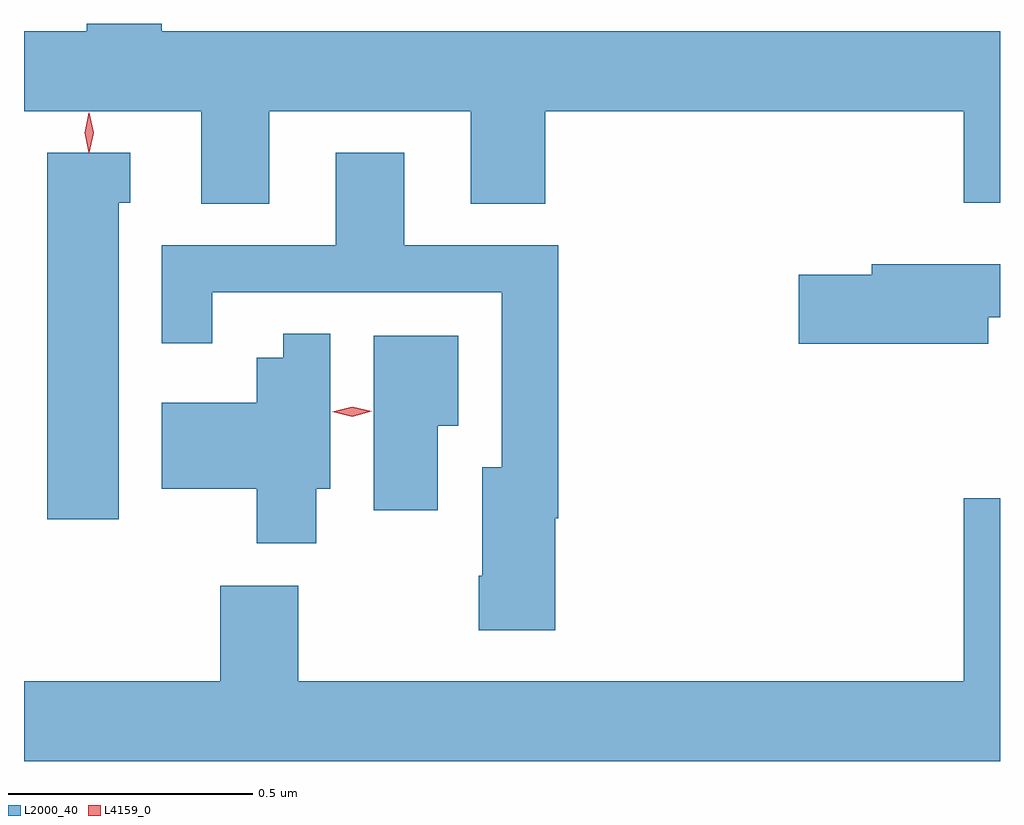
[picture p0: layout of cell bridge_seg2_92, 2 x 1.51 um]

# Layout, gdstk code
import gdstk
lib = gdstk.Library(unit=1e-6, precision=1e-09)
def P(c, l, *ps):  # polygons
    for p in ps: c.add(gdstk.Polygon(p, *l))
L2000_40 = (2000, 40)
L4159_0 = (4159, 0)

bridge_seg2_92 = lib.new_cell('bridge_seg2_92')
P(bridge_seg2_92, L2000_40, [(355.172,649.147),(355.019,649.147),(355.019,649.132),(354.89,649.132),(354.89,648.968),(355.253,648.968),(355.253,648.778),(355.393,648.778),(355.393,648.968),(355.805,648.968),(355.805,648.778),(355.958,648.778),(355.958,648.968),(356.816,648.968),(356.816,648.78),(356.89,648.78),(356.89,649.132),(355.172,649.132)],
  [(355.084,648.78),(355.108,648.78),(355.108,648.883),(354.938,648.883),(354.938,648.132),(355.084,648.132)],
  [(355.979,648.134),(355.985,648.134),(355.985,648.693),(355.669,648.693),(355.669,648.883),(355.529,648.883),(355.529,648.693),(355.172,648.693),(355.172,648.492),(355.276,648.492),(355.276,648.597),(355.869,648.597),(355.869,648.238),(355.829,648.238),(355.829,648.016),(355.822,648.016),(355.822,647.904),(355.979,647.904)],
  [(356.866,648.546),(356.89,648.546),(356.89,648.654),(356.627,648.654),(356.627,648.633),(356.478,648.633),(356.478,648.491),(356.866,648.491)],
  [(355.489,648.194),(355.518,648.194),(355.518,648.512),(355.421,648.512),(355.421,648.463),(355.367,648.463),(355.367,648.37),(355.172,648.37),(355.172,648.194),(355.367,648.194),(355.367,648.083),(355.489,648.083)],
  [(355.738,648.323),(355.78,648.323),(355.78,648.508),(355.607,648.508),(355.607,648.15),(355.738,648.15)],
  [(356.89,648.175),(356.816,648.175),(356.816,647.8),(355.452,647.8),(355.452,647.995),(355.292,647.995),(355.292,647.8),(354.89,647.8),(354.89,647.636),(356.89,647.636)])
P(bridge_seg2_92, L4159_0, [(355.563,648.342),(355.522,648.352),(355.522,648.352),(355.522,648.352),(355.563,648.362),(355.603,648.353),(355.603,648.353),(355.603,648.353)],
  [(355.024,648.882),(355.023,648.883),(355.014,648.924),(355.023,648.965),(355.024,648.965),(355.024,648.965),(355.033,648.924),(355.024,648.883)])

lib.write_gds('bridge_seg2_92.gds')
